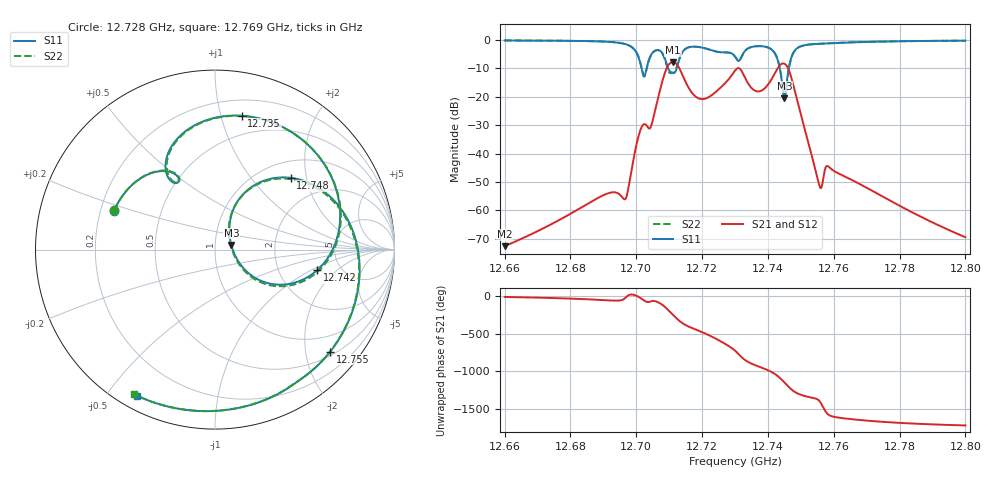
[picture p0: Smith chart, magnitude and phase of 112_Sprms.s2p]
! TOUCHSTONE file generated by CST MICROWAVE STUDIO
! Date and time: Wed Jul 31 16:25:38 2024
! Project name: WaveGuide_BPF-Ver4.1_U-shape_Ku_T3_C4_CWA_2.cst
! Parameters = {cavity_h=16; cavity_l0=10; cavity_l1=15.1778; cavity_l2=16.857; cavity_l3=17.1377; cavity_l4=17.255; cavity_l5=17.1696; cavity_l6=17.5644; cavity_r=2.5; cavity_screw_l=0.5; cavity_screw_r=1.5; cavity_w=8; iris_h00=0; iris_h01=8.8019; iris_h112=0; iris_h12=5.6068; iris_h211=3.6677; ir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
! Header version: 2018
! Port assignment regex: !\s*Touchstone port\s*([0-9]+)\s*=\s*(CST MWS port|CST DS port)\s*([0-9]+|Zmin|Zmax)\s*\(\"(.*)\"\)(\s*mode\s*([0-9]+))?.*
! Touchstone port assignment:
! Touchstone port 1 = CST MWS port 1 ("")
! Touchstone port 2 = CST MWS port 2 ("")
# GHz S RI R 50
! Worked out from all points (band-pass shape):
!   5001 points, 12.66 GHz to 12.8 GHz, reference 50 ohm
!   highest |S21| = -7.81 dB at 12.711 GHz (marker M1); lowest = -72.7 dB at 12.66 GHz (marker M2)
!   |S21| within 3 dB of the highest: 12.70892 GHz to 12.71346 GHz (4.536 MHz wide, 0.0357 % of centre); 12.74253 GHz to 12.74643 GHz (3.899 MHz wide, 0.0306 % of centre) (the widest 2 of 3)
!   lowest |S11| = -20.5 dB at 12.745 GHz (marker M3), VSWR 1.21, Z = 59.9 + j3.09 ohm
!   |S11| at or under -10 dB: 12.70161 GHz to 12.70314 GHz (1.531 MHz wide, 0.0121 % of centre); 12.70968 GHz to 12.71226 GHz (2.578 MHz wide, 0.0203 % of centre); 12.7436 GHz to 12.74633 GHz (2.726 MHz wide, 0.0214 % of centre)
!   |S22| runs from -20.8 to -0.1 dB; largest |S21 - S12| = 1e-09
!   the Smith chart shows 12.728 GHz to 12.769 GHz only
!   S11 on the Smith chart (normalised r, x): 12.728 GHz: 0.26, +0.17; 12.735 GHz: 0.33, +1.17; 12.742 GHz: 3.34, -1.15; 12.748 GHz: 1.34, +1.61; 12.755 GHz: 0.59, -2.52; 12.769 GHz: 0.05, -0.60
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12.66  0.2106 0.9612  0.000223 -6.61e-05  0.000223 -6.61e-05  0.2168 0.9598
12.68335  0.5964 0.7567  0.000806 -0.000779  0.000806 -0.000779  0.6027 0.7516
12.69671  0.8439 0.084  0.0014 -0.000735  0.0014 -0.000735  0.8449 0.0738
12.70066  0.3001 -0.4046  0.0193 -0.00473  0.0193 -0.00473  0.3011 -0.412
12.70278  -0.2472 0.0706  0.00906 -0.0313  0.00906 -0.0313  -0.2499 0.0557
12.70463  0.0658 0.5605  0.0101 -0.0303  0.0101 -0.0303  0.0581 0.5535
12.70668  0.4961 0.4456  0.00325 -0.0989  0.00325 -0.0989  0.4936 0.4366
12.71116  0.2118 0.1572  -0.1217 0.3883  -0.1217 0.3883  0.1991 0.1736
12.71443  0.4618 0.4673  0.2086 -0.0514  0.2086 -0.0514  0.4638 0.469
12.71866  0.7457 -0.1403  -0.0118 -0.0948  -0.0118 -0.0948  0.7458 -0.1399
12.72345  -0.0268 -0.6461  -0.1104 0.0221  -0.1104 0.0221  -0.0281 -0.6457
12.72807  -0.5632 0.2148  0.1133 0.1693  0.1133 0.1693  -0.5613 0.2189
12.73  -0.2686 0.4364  0.2883 -0.0246  0.2883 -0.0246  -0.2652 0.4392
12.73529  0.1498 0.746  -0.1377 0.00488  -0.1377 0.00488  0.1615 0.7434
12.74212  0.5693 -0.1145  0.1797 0.1891  0.1797 0.1891  0.5695 -0.1251
12.74501  0.0911 0.0255  0.1623 -0.3469  0.1623 -0.3469  0.0914 0.00991
12.74761  0.4208 0.4  -0.1693 -0.017  -0.1693 -0.017  0.4156 0.3943
12.75335  0.7485 -0.3883  -0.000615 0.00906  -0.000615 0.00906  0.7412 -0.401
12.75506  0.6421 -0.5683  0.00117 0.00346  0.00117 0.00346  0.6315 -0.5799
12.7687  -0.437 -0.8129  -0.0025 0.00112  -0.0025 0.00112  -0.4499 -0.8065
12.77668  -0.7718 -0.5461  -0.00097 0.00118  -0.00097 0.00118  -0.7791 -0.5364
12.8  -0.9698 0.107  1.83e-05 0.000334  1.83e-05 0.000334  -0.969 0.1153
